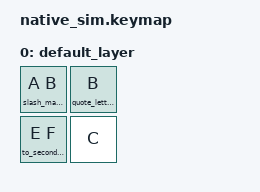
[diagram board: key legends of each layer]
/*
 * Copyright (c) 2022 The ZMK Contributors
 *
 * SPDX-License-Identifier: MIT
 */

#include <dt-bindings/zmk/keys.h>
#include <behaviors.dtsi>
#include <dt-bindings/zmk/input_mock.h>

/ {
    macros {
        slash_macro: slash_macro {
            #binding-cells = <2>;
            compatible = "zmk,behavior-macro-two-param";
            wait-ms = <40>;
            tap-ms = <40>;
            bindings = <
                &macro_param_1to1 &kp MACRO_PLACEHOLDER
                &kp SLASH
                &macro_param_2to1 &kp MACRO_PLACEHOLDER>;
        };

        to_second_macro: to_second_macro {
            #binding-cells = <2>;
            compatible = "zmk,behavior-macro-two-param";
            wait-ms = <40>;
            tap-ms = <40>;
            bindings = <
                &macro_param_1to2 &mt LSHIFT MACRO_PLACEHOLDER
                &macro_param_2to2 &mt RSHIFT MACRO_PLACEHOLDER>;
        };

        quote_letter_macro: quote_letter_macro {
            #binding-cells = <1>;
            compatible = "zmk,behavior-macro-one-param";
            wait-ms = <40>;
            tap-ms = <40>;
            bindings = <
                &kp QUOT
                &macro_param_1to1 &kp MACRO_PLACEHOLDER
                &kp QUOT>;
        };
    };

    keymap {
        compatible = "zmk,keymap";

        default_layer {
            bindings = <
            &slash_macro A B &quote_letter_macro B
            &to_second_macro E F &kp C>;
        };
    };
};

&mock_input {
    events = <ZMK_INPUT_MOCK_PRESS(0,0,20) ZMK_INPUT_MOCK_PRESS(0,1,10) ZMK_INPUT_MOCK_RELEASE(0,1,10) ZMK_INPUT_MOCK_RELEASE(0,0,10) ZMK_INPUT_MOCK_PRESS(1,0,10) ZMK_INPUT_MOCK_RELEASE(1,0,1000)>;
};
